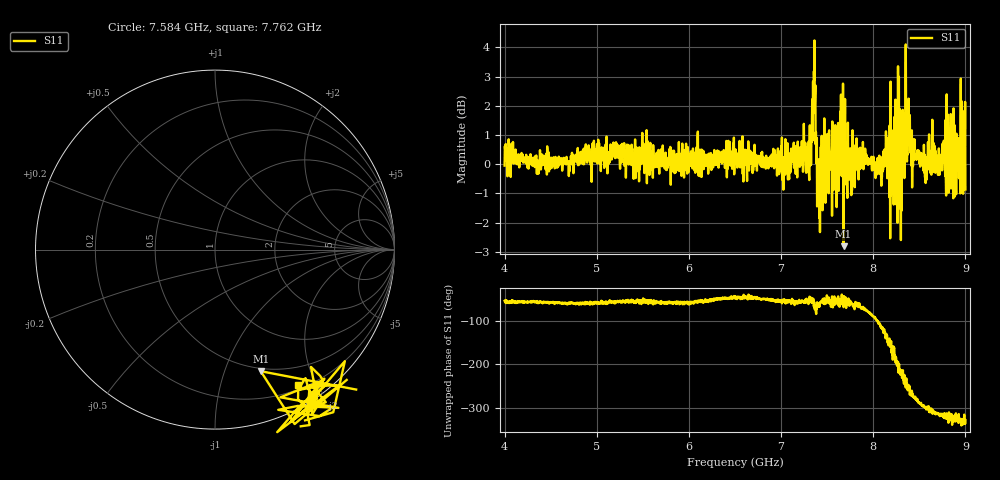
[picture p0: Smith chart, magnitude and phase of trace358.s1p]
! Created with skrf 1.8.0 (http://scikit-rf.org).
# Hz S RI R 50.0
!freq ReS11 ImS11
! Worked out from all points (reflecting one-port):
!   1601 points, 4 GHz to 9 GHz, reference 50 ohm
!   lowest |S11| = -2.8 dB at 7.678 GHz (marker M1), VSWR 6.24, Z = 23.5 - j66.8 ohm
!   phase of S11 starts at -55 deg and turns -272 deg over the sweep
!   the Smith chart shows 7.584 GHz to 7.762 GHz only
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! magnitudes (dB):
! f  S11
! 4 GHz  0.0
! 4.625 GHz  -0.2
! 5.25 GHz  0.0
! 5.875 GHz  -0.2
! 6.5 GHz  0.2
! 7.125 GHz  0.5
! 7.294 GHz  0.1
! 7.353 GHz  2.2
! 7.381 GHz  0.7
! 7.4 GHz  -0.9
! 7.412 GHz  -0.6
! 7.525 GHz  0.6
! 7.591 GHz  0.0
! 7.65 GHz  2.4
! 7.678 GHz  -2.8
! 7.75 GHz  0.5
! 8.075 GHz  0.0
! 8.156 GHz  0.5
! 8.197 GHz  -0.1
! 8.262 GHz  -2.0
! 8.312 GHz  0.6
! 8.334 GHz  0.5
! 8.375 GHz  0.8
! 8.441 GHz  0.7
! 8.562 GHz  -0.4
! 8.919 GHz  0.0
! 8.972 GHz  0.7
! 9 GHz  -0.9
